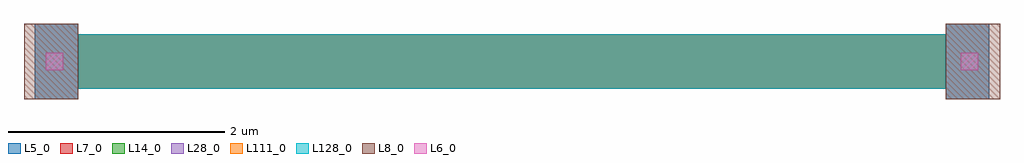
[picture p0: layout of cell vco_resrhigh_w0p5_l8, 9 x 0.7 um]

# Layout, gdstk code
import gdstk
lib = gdstk.Library(unit=1e-6, precision=1e-09)
def R(c, l, rs):  # rectangles x0, y0, x1, y1
    for r in rs: c.add(gdstk.rectangle(r[:2], r[2:], *l))
L5_0 = (5, 0)
L6_0 = (6, 0)
L7_0 = (7, 0)
L8_0 = (8, 0)
L14_0 = (14, 0)
L28_0 = (28, 0)
L111_0 = (111, 0)
L128_0 = (128, 0)

vco_resrhigh_w0p5_l8 = lib.new_cell('vco_resrhigh_w0p5_l8')
R(vco_resrhigh_w0p5_l8, L5_0, [(0.1,0.1,0.5,0.8), (8.5,0.1,8.9,0.8), (0.5,0.2,8.5,0.7)])
R(vco_resrhigh_w0p5_l8, L6_0, [(0.2,0.37,0.36,0.53), (8.64,0.37,8.8,0.53)])
R(vco_resrhigh_w0p5_l8, L7_0, [(0.5,0.2,8.5,0.7)])
R(vco_resrhigh_w0p5_l8, L8_0, [(0,0.1,0.5,0.8), (8.5,0.1,9,0.8)])
R(vco_resrhigh_w0p5_l8, L14_0, [(0.5,0.2,8.5,0.7)])
R(vco_resrhigh_w0p5_l8, L28_0, [(0.5,0.2,8.5,0.7)])
R(vco_resrhigh_w0p5_l8, L111_0, [(0.5,0.2,8.5,0.7)])
R(vco_resrhigh_w0p5_l8, L128_0, [(0.5,0.2,8.5,0.7)])

lib.write_gds('vco_resrhigh_w0p5_l8.gds')
